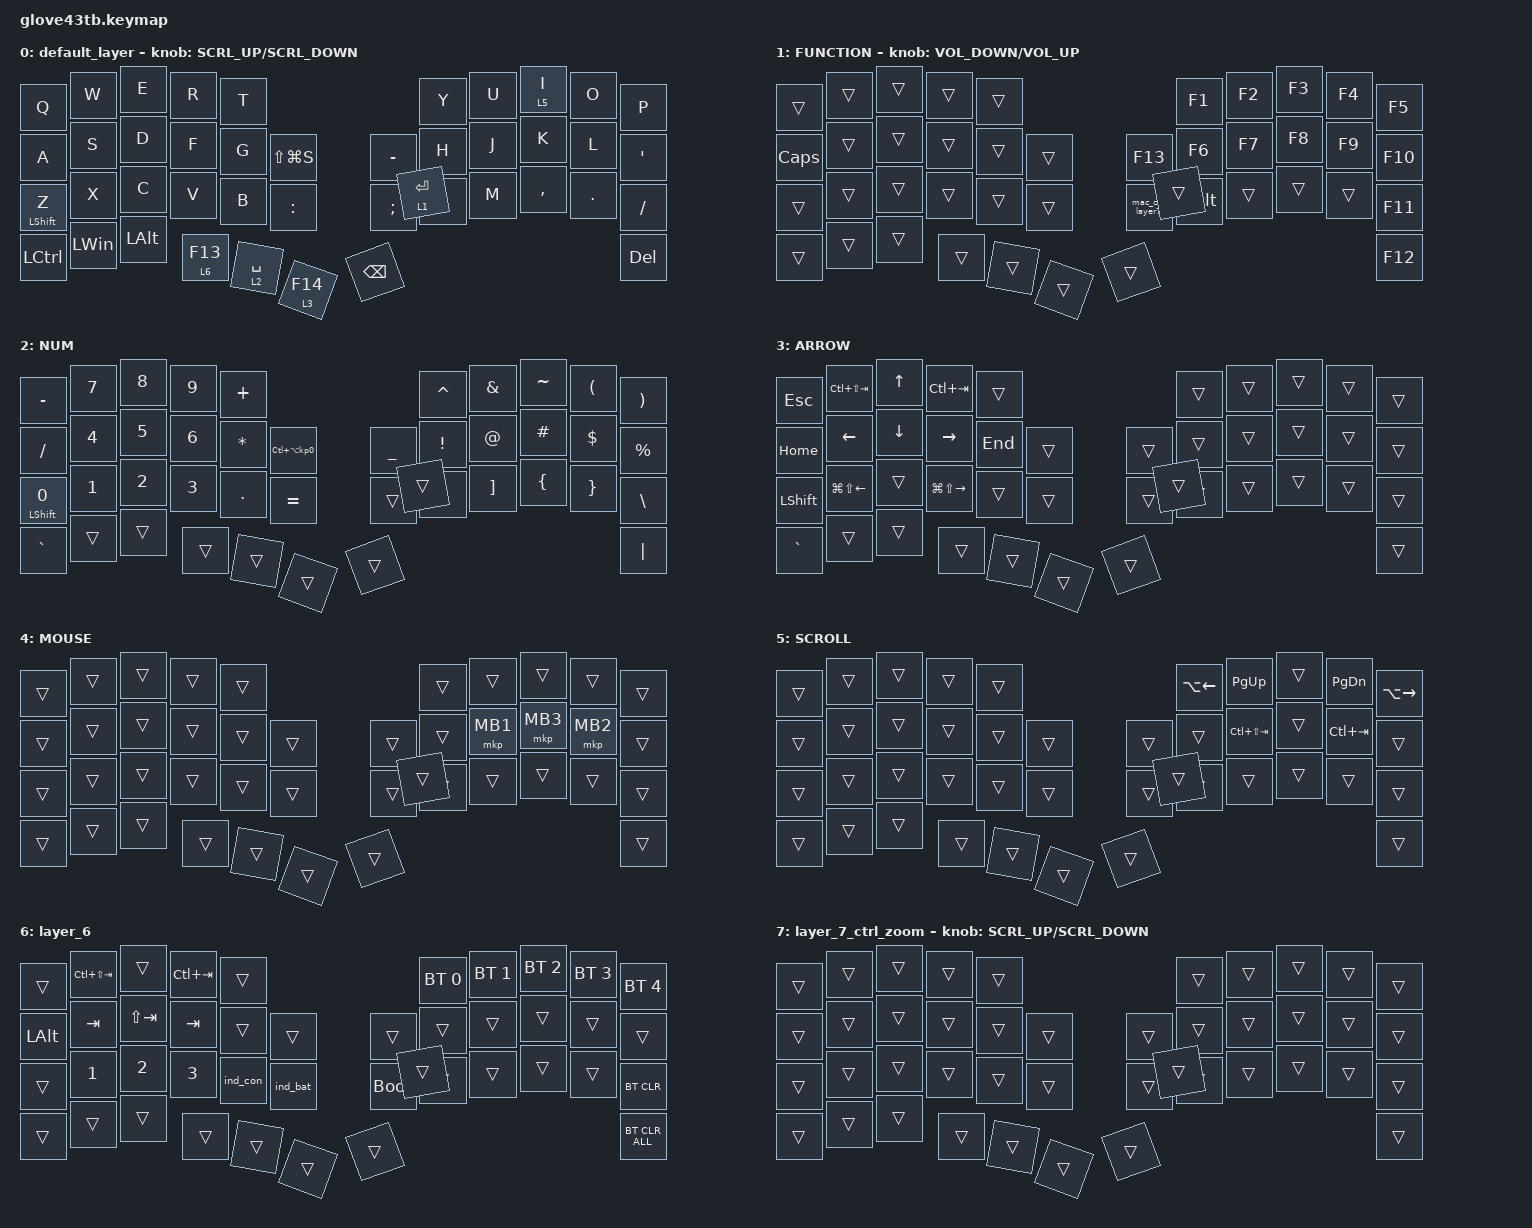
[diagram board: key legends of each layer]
#define ZMK_POINTING_DEFAULT_SCRL_VAL 150

#include <behaviors/rgbled_widget.dtsi>
#include <dt-bindings/zmk/input_transform.h>
#include <input/processors.dtsi>
#include <zephyr/dt-bindings/input/input-event-codes.h>
#include <behaviors.dtsi>
#include <dt-bindings/zmk/bt.h>
#include <dt-bindings/zmk/keys.h>
#include <dt-bindings/zmk/pointing.h>

&mt {
    flavor = "balanced";
    tapping-term-ms = <200>;
    quick-tap-ms = <0>;
    require-prior-idle-ms = <150>;
};

&mmv {
    delay-ms = <20>;
    trigger-period-ms = <5>;
    time-to-max-speed-ms = <100>;
    acceleration-exponent = <2>;
};

&msc {
    delay-ms = <3>;
    trigger-period-ms = <3>;
    time-to-max-speed-ms = <100>;
    acceleration-exponent = <0>;
};

/ {
    input_processors {
        zip_wheel_scaler: zip_wheel_scaler {
            compatible = "zmk,input-processor-scaler";
            #input-processor-cells = <2>;
            type = <INPUT_EV_REL>;
            codes = <INPUT_REL_WHEEL>;
            track-remainders;
        };
    };
};

/ {
    combos {
        compatible = "zmk,combos";

        tab {
            bindings = <&kp TAB>;
            key-positions = <11 12>;
        };

        shift_tab {
            bindings = <&kp LS(TAB)>;
            key-positions = <12 13>;
        };

        double_quotation {
            bindings = <&kp DOUBLE_QUOTES>;
            key-positions = <20 21>;
        };

        eq {
            bindings = <&kp EQUAL>;
            key-positions = <24 25>;
        };
    };

    macros {


        mac_ctrl_layer7: mac_ctrl_layer7 {
            compatible = "zmk,behavior-macro";
            #binding-cells = <0>;
            wait-ms = <0>;
            tap-ms = <0>;
            bindings
                = <&macro_press &kp LCTRL>
                , <&macro_press &mo 7>
                , <&macro_pause_for_release>
                , <&macro_release &mo 7>
                , <&macro_release &kp LCTRL>
                ;
        };
    };

    behaviors {


        sensor_rotate_kp: sensor_rotate_kp {
            compatible = "zmk,behavior-sensor-rotate-var";
            #sensor-binding-cells = <2>;
            bindings = <&kp>, <&kp>;
        };

        mouse_wheel_scroll: mouse_wheel_scroll {
            compatible = "zmk,behavior-sensor-rotate-var";
            #sensor-binding-cells = <2>;
            bindings = <&msc>, <&msc>;

            tap-ms = <20>;
        };

        encoder_none: encoder_none {
            compatible = "zmk,behavior-sensor-rotate";
            #sensor-binding-cells = <0>;
            bindings = <&none>, <&none>;
        };

        lt_ctrl_encoder: lt_ctrl_encoder {
            compatible = "zmk,behavior-hold-tap";
            label = "LT_CTRL_ENCODER";
            bindings = <&mo>, <&kp>;
            #binding-cells = <2>;
            tapping-term-ms = <200>;
            flavor = "hold-preferred";
        };
    };

    keymap {
        compatible = "zmk,keymap";

        default_layer {
            bindings = <
&kp Q             &kp W         &kp E         &kp R                        &kp T                                                          &kp Y        &kp U  &lt 5 I    &kp O    &kp P
&kp A             &kp S         &kp D         &kp F                        &kp G        &kp LS(LG(S))                      &kp MINUS      &kp H        &kp J  &kp K      &kp L    &kp SQT
&mt LEFT_SHIFT Z  &kp X         &kp C         &kp V                        &kp B        &kp COLON                          &kp SEMICOLON  &kp N        &kp M  &kp COMMA  &kp DOT  &kp SLASH
&kp LCTRL         &kp LEFT_WIN  &kp LEFT_ALT  &lt 6 F13                    &lt 2 SPACE  &lt 3 F14                          &kp BACKSPACE  &lt 1 ENTER                             &kp DEL
            >;

            sensor-bindings = <&mouse_wheel_scroll SCRL_UP SCRL_DOWN>;
        };

        FUNCTION {
            bindings = <
&trans    &trans  &trans  &trans  &trans                       &kp F1  &kp F2  &kp F3  &kp F4  &kp F5
&kp CAPS  &trans  &trans  &trans  &trans  &trans      &kp F13  &kp F6  &kp F7  &kp F8  &kp F9  &kp F10
&trans  &trans  &trans  &trans  &trans  &trans      &mac_ctrl_layer7 &kp RIGHT_ALT  &trans  &trans  &trans  &kp F11
&trans  &trans  &trans  &trans  &trans  &trans      &trans   &trans                          &kp F12
            >;

            sensor-bindings = <&sensor_rotate_kp C_VOLUME_DOWN C_VOLUME_UP>;
        };

        NUM {
            bindings = <
&kp MINUS                   &kp NUMBER_7     &kp NUMBER_8     &kp NUMBER_9     &kp PLUS                                                   &kp CARET         &kp AMPERSAND      &kp TILDE       &kp LEFT_PARENTHESIS  &kp RIGHT_PARENTHESIS
&kp SLASH                   &kp NUMBER_4     &kp NUMBER_5     &kp NUMBER_6     &kp ASTERISK  &kp LC(LA(KP_NUMBER_0))      &kp UNDERSCORE  &kp EXCLAMATION   &kp AT_SIGN        &kp HASH        &kp DOLLAR            &kp PERCENT
&mt LEFT_SHIFT NUMBER_0     &kp NUMBER_1     &kp NUMBER_2     &kp NUMBER_3     &kp PERIOD    &kp EQUAL                    &trans          &kp LEFT_BRACKET  &kp RIGHT_BRACKET  &kp LEFT_BRACE  &kp RIGHT_BRACE       &kp BACKSLASH
&kp GRAVE                   &trans           &trans           &trans           &trans        &trans                       &trans          &trans                                                                     &kp PIPE
            >;
        };

        ARROW {
            bindings = <
&kp ESCAPE      &kp LC(LS(TAB))         &kp UP_ARROW    &kp LC(TAB)              &trans                       &trans  &trans  &trans  &trans  &trans
&kp HOME        &kp LEFT_ARROW          &kp DOWN_ARROW  &kp RIGHT_ARROW          &kp END  &trans      &trans  &trans  &trans  &trans  &trans  &trans
&kp LEFT_SHIFT  &kp LG(LS(LEFT_ARROW))  &trans          &kp LG(LS(RIGHT_ARROW))  &trans   &trans      &trans  &trans  &trans  &trans  &trans  &trans
&kp GRAVE       &trans                  &trans          &trans                   &trans   &trans      &trans  &trans                          &trans
            >;
        };

        MOUSE {
            bindings = <
&trans  &trans  &trans  &trans  &trans                      &trans  &trans    &trans    &trans    &trans
&trans  &trans  &trans  &trans  &trans  &trans      &trans  &trans  &mkp MB1  &mkp MB3  &mkp MB2  &trans
&trans  &trans  &trans  &trans  &trans  &trans      &trans  &trans  &trans    &trans    &trans    &trans
&trans  &trans  &trans  &trans  &trans  &trans      &trans  &trans                                &trans
            >;
        };

        SCROLL {
            bindings = <
&trans  &trans  &trans  &trans  &trans                      &kp LA(LEFT)  &kp PAGE_UP       &trans  &kp PAGE_DOWN  &kp LA(RIGHT)
&trans  &trans  &trans  &trans  &trans  &trans      &trans  &trans  &kp LC(LS(TAB))   &trans  &kp LC(TAB)    &trans
&trans  &trans  &trans  &trans  &trans  &trans      &trans  &trans  &trans            &trans  &trans         &trans
&trans  &trans  &trans  &trans  &trans  &trans      &trans  &trans                                           &trans
            >;
        };

        layer_6 {
            bindings = <
&trans         &kp LC(LS(TAB))  &trans        &kp LC(TAB)      &trans                               &bt BT_SEL 0  &bt BT_SEL 1  &bt BT_SEL 2  &bt BT_SEL 3  &bt BT_SEL 4
&kp LEFT_ALT   &kp TAB          &kp LS(TAB)   &kp TAB         &trans    &trans        &trans       &trans        &trans        &trans        &trans        &trans
&trans         &kp NUMBER_1     &kp NUMBER_2  &kp NUMBER_3     &ind_con  &ind_bat      &bootloader  &trans        &trans        &trans        &trans        &bt BT_CLR
&trans         &trans           &trans        &trans           &trans    &trans        &trans       &trans                                                  &bt BT_CLR_ALL
            >;
        };
        layer_7_ctrl_zoom {
            bindings = <
&trans  &trans  &trans  &trans  &trans                      &trans  &trans  &trans  &trans  &trans
&trans  &trans  &trans  &trans  &trans  &trans      &trans  &trans  &trans  &trans  &trans  &trans
&trans  &trans  &trans  &trans  &trans  &trans      &trans  &trans  &trans  &trans  &trans  &trans
&trans  &trans  &trans  &trans  &trans  &trans      &trans  &trans                          &trans
            >;

            sensor-bindings = <&mouse_wheel_scroll SCRL_UP SCRL_DOWN>;
        };
    };
};

/ {
    aliases {
        led-red = &led0;
        led-green = &led1;
        led-blue = &led2;
    };
};
